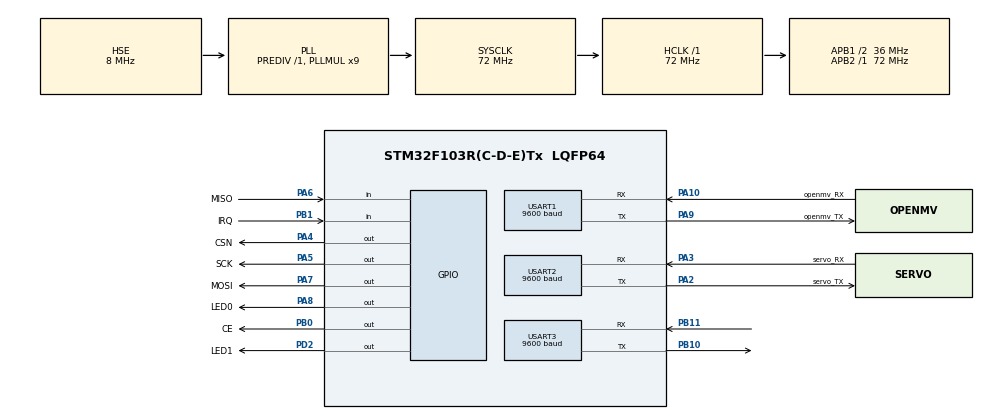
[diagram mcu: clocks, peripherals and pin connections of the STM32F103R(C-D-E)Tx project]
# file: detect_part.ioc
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Dma.Request0=USART3_RX
Dma.USART3_RX.0.Direction=DMA_PERIPH_TO_MEMORY
Dma.USART3_RX.0.Instance=DMA1_Channel3
Dma.USART3_RX.0.MemDataAlignment=DMA_MDATAALIGN_BYTE
Dma.USART3_RX.0.MemInc=DMA_MINC_ENABLE
Dma.USART3_RX.0.Mode=DMA_NORMAL
Dma.USART3_RX.0.PeriphDataAlignment=DMA_PDATAALIGN_BYTE
Dma.USART3_RX.0.PeriphInc=DMA_PINC_DISABLE
Dma.USART3_RX.0.Priority=DMA_PRIORITY_LOW
Mcu.Family=STM32F1
Mcu.Name=STM32F103R(C-D-E)Tx
Mcu.Package=LQFP64
NVIC.DMA1_Channel3_IRQn=true\:0\:0\:true\:false\:true\:false\:true\:true
NVIC.PriorityGroup=NVIC_PRIORITYGROUP_4
NVIC.TIM1_BRK_IRQn=true\:5\:0\:true\:false\:true\:true\:true\:true
NVIC.TIM2_IRQn=true\:0\:0\:true\:false\:true\:true\:true\:true
NVIC.USART1_IRQn=true\:1\:0\:true\:false\:true\:true\:true\:true
NVIC.USART2_IRQn=true\:2\:0\:true\:false\:true\:true\:true\:true
NVIC.USART3_IRQn=true\:3\:0\:true\:false\:true\:true\:true\:true
PA10.GPIO_Label=openmv_RX
PA10.Mode=Asynchronous
PA10.Signal=USART1_RX
PA13.Mode=Serial_Wire
PA13.Signal=SYS_JTMS-SWDIO
PA14.Mode=Serial_Wire
PA14.Signal=SYS_JTCK-SWCLK
PA2.GPIO_Label=servo_TX
PA2.Mode=Asynchronous
PA2.Signal=USART2_TX
PA3.GPIO_Label=servo_RX
PA3.Mode=Asynchronous
PA3.Signal=USART2_RX
PA4.GPIO_Label=CSN
PA4.GPIO_PuPd=GPIO_PULLUP
PA4.GPIO_Speed=GPIO_SPEED_FREQ_HIGH
PA4.Signal=GPIO_Output
PA5.GPIO_Label=SCK
PA5.GPIO_PuPd=GPIO_PULLUP
PA5.Signal=GPIO_Output
PA6.GPIO_Label=MISO
PA6.GPIO_PuPd=GPIO_PULLUP
PA6.Signal=GPIO_Input
PA7.GPIO_Label=MOSI
PA7.GPIO_PuPd=GPIO_PULLUP
PA7.Signal=GPIO_Output
PA8.GPIO_Label=LED0
PA8.Signal=GPIO_Output
PA9.GPIO_Label=openmv_TX
PA9.Mode=Asynchronous
PA9.Signal=USART1_TX
PB0.GPIO_Label=CE
PB0.GPIO_PuPd=GPIO_PULLUP
PB0.GPIO_Speed=GPIO_SPEED_FREQ_HIGH
PB0.Signal=GPIO_Output
PB1.GPIO_Label=IRQ
PB1.GPIO_PuPd=GPIO_PULLUP
PB1.Signal=GPIO_Input
PB10.Mode=Asynchronous
PB10.Signal=USART3_TX
PB11.Mode=Asynchronous
PB11.Signal=USART3_RX
PD0-OSC_IN.Mode=HSE-External-Oscillator
PD0-OSC_IN.Signal=RCC_OSC_IN
PD1-OSC_OUT.Mode=HSE-External-Oscillator
PD1-OSC_OUT.Signal=RCC_OSC_OUT
PD2.GPIO_Label=LED1
PD2.Signal=GPIO_Output
ProjectManager.HeapSize=0x200
ProjectManager.StackSize=0x400
ProjectManager.TargetToolchain=MDK-ARM V5.32
RCC.AHBFreq_Value=72000000
RCC.APB1CLKDivider=RCC_HCLK_DIV2
RCC.APB1Freq_Value=36000000
RCC.APB1TimFreq_Value=72000000
RCC.APB2Freq_Value=72000000
RCC.APB2TimFreq_Value=72000000
RCC.HCLKFreq_Value=72000000
RCC.PLLMUL=RCC_PLL_MUL9
RCC.PLLSourceVirtual=RCC_PLLSOURCE_HSE
RCC.SYSCLKFreq_VALUE=72000000
RCC.SYSCLKSource=RCC_SYSCLKSOURCE_PLLCLK
RCC.USBFreq_Value=72000000
TIM1.Period=200-1
TIM1.Prescaler=7200-1
TIM2.Period=200-1
TIM2.Prescaler=7200-1
USART1.BaudRate=9600
USART1.VirtualMode=VM_ASYNC
USART2.BaudRate=9600
USART2.VirtualMode=VM_ASYNC
USART3.BaudRate=9600
USART3.VirtualMode=VM_ASYNC
VP_TIM1_VS_ClockSourceINT.Mode=Internal
VP_TIM2_VS_ClockSourceINT.Mode=Internal
board=custom

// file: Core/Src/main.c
/* USER CODE BEGIN Header */
/**
  ******************************************************************************
  * @file           : main.c
  * @brief          : Main program body
  ******************************************************************************
  * @attention
  *
  * Copyright (c) 2024 STMicroelectronics.
  * All rights reserved.
  *
  * This software is licensed under terms that can be found in the LICENSE file
  * in the root directory of this software component.
  * If no LICENSE file comes with this software, it is provided AS-IS.
  *
  ******************************************************************************
  */
/* USER CODE END Header */
#include "main.h"
#include "dma.h"
#include "tim.h"
#include "usart.h"
#include "gpio.h"

/* USER CODE BEGIN Includes */
uint8_t  position1[32]={0,0,0,0,0,0,0,0,0,0,0,0,0,0,0,0,0,0,0,0,0,0,0,0,0,0,0,0,0,0,0,0};
uint8_t usart1_rx_completed_flag=0;
#include "LobotServoController.h"
#include "tjc_usart_hmi.h"
#include "NRF24L01.h"
uint16_t sendcount=0;
/* USER CODE END Includes */

void SystemClock_Config(void);

int main(void)
{

  /* MCU Configuration--------------------------------------------------------*/

  /* Reset of all peripherals, Initializes the Flash interface and the Systick. */
  HAL_Init();

  /* Configure the system clock */
  SystemClock_Config();

  /* Initialize all configured peripherals */
  MX_GPIO_Init();
  MX_DMA_Init();
  MX_USART1_UART_Init();
  MX_USART2_UART_Init();
  MX_USART3_UART_Init();
  MX_TIM1_Init();
  MX_TIM2_Init();
  /* USER CODE BEGIN 2 */

	moveServo(4,591,500);
	delay_ms(500);

	HAL_UART_Receive_IT(&huart1,RxBuff,1);//open serial port and begin receiving  uint8_t
	NRF24L01_Init();
	initRingBuff();//begin buffer
//	special_delay();
//	special_delay();
	mode3();
	//PA10->P4
	//PA9->P5
	show_hanqing();
	for(sendcount=0;sendcount<300;sendcount++){
		NRF24L01_SendBuf(position1);
		delay_ms(500);

	}

  /* USER CODE END 2 */

  /* Infinite loop */
  /* USER CODE BEGIN WHILE */
  while (1)

  {
		HAL_GPIO_TogglePin(GPIOA,GPIO_PIN_8);
		HAL_Delay(200);

    /* USER CODE END WHILE */

  }
}

void SystemClock_Config(void)
{
  RCC_OscInitTypeDef RCC_OscInitStruct = {0};
  RCC_ClkInitTypeDef RCC_ClkInitStruct = {0};

  /** Initializes the RCC Oscillators according to the specified parameters
  * in the RCC_OscInitTypeDef structure.
  */
  RCC_OscInitStruct.OscillatorType = RCC_OSCILLATORTYPE_HSE;
  RCC_OscInitStruct.HSEState = RCC_HSE_ON;
  RCC_OscInitStruct.HSEPredivValue = RCC_HSE_PREDIV_DIV1;
  RCC_OscInitStruct.HSIState = RCC_HSI_ON;
  RCC_OscInitStruct.PLL.PLLState = RCC_PLL_ON;
  RCC_OscInitStruct.PLL.PLLSource = RCC_PLLSOURCE_HSE;
  RCC_OscInitStruct.PLL.PLLMUL = RCC_PLL_MUL9;
  if (HAL_RCC_OscConfig(&RCC_OscInitStruct) != HAL_OK)
  {
    Error_Handler();
  }

  /** Initializes the CPU, AHB and APB buses clocks
  */
  RCC_ClkInitStruct.ClockType = RCC_CLOCKTYPE_HCLK|RCC_CLOCKTYPE_SYSCLK
                              |RCC_CLOCKTYPE_PCLK1|RCC_CLOCKTYPE_PCLK2;
  RCC_ClkInitStruct.SYSCLKSource = RCC_SYSCLKSOURCE_PLLCLK;
  RCC_ClkInitStruct.AHBCLKDivider = RCC_SYSCLK_DIV1;
  RCC_ClkInitStruct.APB1CLKDivider = RCC_HCLK_DIV2;
  RCC_ClkInitStruct.APB2CLKDivider = RCC_HCLK_DIV1;

  if (HAL_RCC_ClockConfig(&RCC_ClkInitStruct, FLASH_LATENCY_2) != HAL_OK)
  {
    Error_Handler();
  }
}

void Error_Handler(void)
{
  __disable_irq();
  while (1)
  {
  }
}
